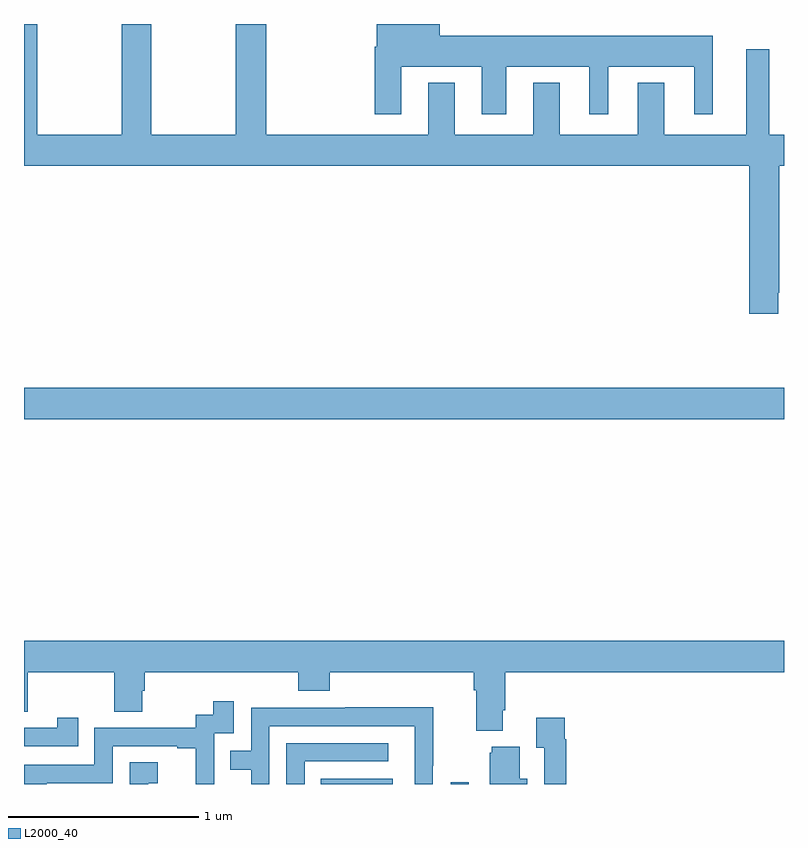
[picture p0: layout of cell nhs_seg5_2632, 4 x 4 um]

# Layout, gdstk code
import gdstk
lib = gdstk.Library(unit=1e-6, precision=1e-09)
def R(c, l, rs):  # rectangles x0, y0, x1, y1
    for r in rs: c.add(gdstk.rectangle(r[:2], r[2:], *l))
def P(c, l, *ps):  # polygons
    for p in ps: c.add(gdstk.Polygon(p, *l))
L2000_40 = (2000, 40)

nhs_seg5_2632 = lib.new_cell('nhs_seg5_2632')
R(nhs_seg5_2632, L2000_40, [(264.562,894.799,264.94,894.826), (265.245,894.799,265.341,894.808), (263,896.72,267,896.884)])
P(nhs_seg5_2632, L2000_40, [(264.985,898.574),(265.409,898.574),(265.409,898.323),(265.537,898.323),(265.537,898.574),(265.976,898.574),(265.976,898.323),(266.074,898.323),(266.074,898.574),(266.528,898.574),(266.528,898.323),(266.626,898.323),(266.626,898.738),(265.189,898.738),(265.189,898.799),(264.857,898.799),(264.857,898.678),(264.845,898.678),(264.845,898.323),(264.985,898.323)],
  [(266.971,897.385),(266.976,897.385),(266.976,898.052),(267,898.052),(267,898.216),(266.923,898.216),(266.923,898.666),(266.801,898.666),(266.801,898.216),(266.371,898.216),(266.371,898.489),(266.231,898.489),(266.231,898.216),(265.819,898.216),(265.819,898.489),(265.679,898.489),(265.679,898.216),(265.267,898.216),(265.267,898.489),(265.127,898.489),(265.127,898.216),(264.275,898.216),(264.275,898.799),(264.115,898.799),(264.115,898.216),(263.67,898.216),(263.67,898.799),(263.515,898.799),(263.515,898.216),(263.07,898.216),(263.07,898.799),(263,898.799),(263,898.052),(266.816,898.052),(266.816,897.273),(266.971,897.273)],
  [(265.519,895.186),(265.532,895.186),(265.532,895.388),(267,895.388),(267,895.552),(263,895.552),(263,895.18),(263.019,895.18),(263.019,895.388),(263.476,895.388),(263.476,895.18),(263.623,895.18),(263.623,895.29),(263.636,895.29),(263.636,895.388),(264.443,895.388),(264.443,895.289),(264.608,895.289),(264.608,895.388),(265.367,895.388),(265.367,895.292),(265.379,895.292),(265.379,895.079),(265.519,895.079)],
  [(263.121,894.804),(263.466,894.804),(263.466,894.999),(263.807,894.999),(263.807,894.987),(263.903,894.987),(263.903,894.799),(264.002,894.799),(264.002,894.836),(264,894.836),(264,895.065),(264.105,895.065),(264.105,895.234),(263.997,895.234),(263.997,895.164),(263.904,895.164),(263.904,895.095),(263.37,895.095),(263.37,894.9),(263,894.9),(263,894.799),(263.121,894.799)],
  [(264.291,895.104),(265.056,895.104),(265.056,894.799),(265.152,894.799),(265.152,894.895),(265.155,894.895),(265.155,895.202),(264.691,895.202),(264.691,895.2),(264.195,895.2),(264.195,894.975),(264.085,894.975),(264.085,894.874),(264.195,894.874),(264.195,894.799),(264.291,894.799)],
  [(265.853,895.034),(265.846,895.034),(265.846,895.147),(265.697,895.147),(265.697,894.991),(265.737,894.991),(265.737,894.799),(265.853,894.799)],
  [(263.285,895.147),(263.174,895.147),(263.174,895.095),(263,895.095),(263,894.999),(263.285,894.999)],
  [(264.477,894.918),(264.916,894.918),(264.916,895.014),(264.381,895.014),(264.381,894.799),(264.477,894.799)],
  [(265.648,894.826),(265.609,894.826),(265.609,894.994),(265.463,894.994),(265.463,894.963),(265.451,894.963),(265.451,894.799),(265.648,894.799)],
  [(263.655,894.803),(263.704,894.803),(263.704,894.913),(263.556,894.913),(263.556,894.799),(263.655,894.799)])

lib.write_gds('nhs_seg5_2632.gds')
